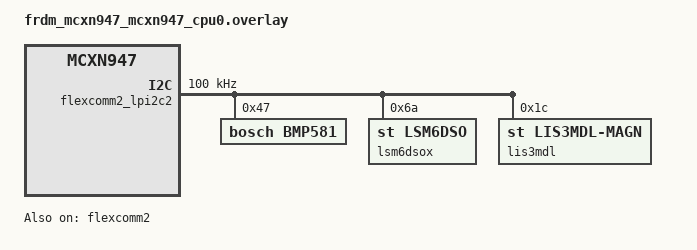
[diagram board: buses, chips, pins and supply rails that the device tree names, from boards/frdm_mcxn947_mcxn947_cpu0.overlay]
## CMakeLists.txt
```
cmake_minimum_required(VERSION 3.20.0)

set(SHIELD lcd_par_s035_8080)
find_package(Zephyr REQUIRED HINTS $ENV{ZEPHYR_BASE})
project(mxcn947-lab)

target_compile_definitions(app PRIVATE
    LV_LVGL_H_INCLUDE_SIMPLE=1
    UI_SUBJECT_STRING_LENGTH=64)

set(DISPLAY ${CMAKE_CURRENT_SOURCE_DIR}/src/display)
file(GLOB_RECURSE DISPLAY_GEN
    ${DISPLAY}/display_gen.c
    ${DISPLAY}/components/*.c
    ${DISPLAY}/screens/*_gen.c
    ${DISPLAY}/widgets/*.c
    ${DISPLAY}/fonts/*.c)

set(SOURCES
    src/main.c
    src/common.c
    src/led/led.c
    src/sensors/baro/bmp581.c
    src/sensors/imu/lsm6dsox.c
    src/sensors/mag/lis3mdl_m.c
    src/sensors/mag/compass.c
    src/sensors/mag/mag_calibration.c
    src/display/lvgl_main.c
    src/display/nav.c
    src/display/screens/motion.c
    ${DISPLAY_GEN}
)

target_sources(app PRIVATE ${SOURCES})
target_include_directories(app PRIVATE
    ${DISPLAY}
    ${DISPLAY}/components
    ${DISPLAY}/screens
    ${DISPLAY}/widgets)
```

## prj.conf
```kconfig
# Zephyr Kernel Config for FRDM-MCXN947
# zephyr/boards/nxp/frdm_mcxn947/frdm_mcxn947_mcxn947_cpu0.dtsi
CONFIG_MAIN_STACK_SIZE=16384

CONFIG_HW_STACK_PROTECTION=y
CONFIG_THREAD_STACK_INFO=y
CONFIG_EXTRA_EXCEPTION_INFO=y
CONFIG_EXCEPTION_STACK_TRACE=y
CONFIG_ARM_MPU=y

CONFIG_ASSERT=y

CONFIG_FPU=y

CONFIG_FLASH=y
CONFIG_FLASH_MAP=y
CONFIG_NVS=y
CONFIG_SETTINGS=y
CONFIG_SETTINGS_NVS=y

CONFIG_LOG=y
CONFIG_LOG_MODE_DEFERRED=y
CONFIG_LOG_BUFFER_SIZE=1024

CONFIG_PRINTK=y
CONFIG_LOG_PRINTK=y
CONFIG_SHELL=y
CONFIG_SHELL_BACKEND_SERIAL=y
CONFIG_I2C_SHELL=y
CONFIG_SENSOR_SHELL=y
CONFIG_DEVICE_SHELL=y
CONFIG_CBPRINTF_FP_SUPPORT=y

CONFIG_GPIO=y
CONFIG_I2C=y
CONFIG_SENSOR=y
CONFIG_BMP581=y
CONFIG_LSM6DSO=y
CONFIG_LIS3MDL=y

CONFIG_SPI=y
CONFIG_DMA=y

CONFIG_DISPLAY=y
CONFIG_INPUT=y
CONFIG_MIPI_DBI=y

CONFIG_LVGL=y
CONFIG_LV_USE_OBJ_NAME=y
CONFIG_LV_USE_THEME_MONO=y
CONFIG_LV_USE_FLOAT=y
CONFIG_LV_USE_THEME_DEFAULT=y
CONFIG_LV_Z_VDB_SIZE=50
CONFIG_LV_Z_MEM_POOL_SIZE=65536
CONFIG_LV_Z_DOUBLE_VDB=n
CONFIG_LV_USE_OBSERVER=y
CONFIG_LV_FONT_MONTSERRAT_14=y
CONFIG_LV_COLOR_DEPTH_16=y
CONFIG_LV_Z_AREA_X_ALIGNMENT_WIDTH=16
```

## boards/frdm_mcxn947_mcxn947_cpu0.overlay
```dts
#include <zephyr/dt-bindings/display/panel.h>
#include <zephyr/dt-bindings/mipi_dbi/mipi_dbi.h>
#include <zephyr/dt-bindings/sensor/lsm6dso.h>

&flexcomm2 {
    status = "okay";
};

&flexcomm2_lpi2c2 {
    clock-frequency = <I2C_BITRATE_STANDARD>;   /* 400 kHz; */

    bmp581: bmp581@47 {
        compatible = "bosch,bmp581";
        reg = <0x47>;
        status = "okay";
    };

    lsm6dsox: lsm6dsox@6a {
        compatible = "st,lsm6dso";
        reg = <0x6a>;
        /* optional tuning — defaults are fine to start */
        accel-range = <LSM6DSO_DT_FS_4G>;
        accel-odr   = <LSM6DSO_DT_ODR_104Hz>;
        gyro-range  = <LSM6DSO_DT_FS_500DPS>;
        gyro-odr    = <LSM6DSO_DT_ODR_104Hz>;
    };

    lis3mdl: lis3mdl@1c {
        compatible = "st,lis3mdl-magn";
        reg = <0x1c>;
    };
};

&st7796s {
    width = <320>;
    height = <480>;
    madctl = <0x48>;
};

/* portrait touch: remove landscape axis swap + inversions */
&gt911_lcd_par_s035 {
    /delete-property/ swapped-x-y;
    /delete-property/ inverted-x;
    /delete-property/ screen-width;
    /delete-property/ screen-height;
};

/ {
	aliases {
		baro-bmp581 = &bmp581;
        imu-lsm6dsox = &lsm6dsox;
        mag-lis3mdl = &lis3mdl;
	};
};
```

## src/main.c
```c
#include <zephyr/drivers/gpio.h>
#include <zephyr/kernel.h>
#include <zephyr/logging/log.h>
#include <zephyr/sys/util.h>

#include "display/lvgl_main.h"
#include "led/led.h"
#include "sensors/baro/bmp581.h"
#include "sensors/imu/lsm6dsox.h"
#include "sensors/mag/lis3mdl_m.h"

LOG_MODULE_REGISTER(mxcn947_lab, LOG_LEVEL_INF);

// static const struct gpio_dt_spec button    = GPIO_DT_SPEC_GET(DT_ALIAS(sw0),
// gpios);
//
// /*
//  * GPIO interrupt callback — fires on button press.
//  * This is the Zephyr equivalent of an ISR for EXTI on STM32.
//  */
// static struct gpio_callback button_cb_data;
//
// static void button_pressed(const struct device *dev,
//                            struct gpio_callback *cb,
//                            uint32_t pins)
// {
//     /* Toggle blue LED on each press */
//     gpio_pin_toggle_dt(&blue_led);
//     LOG_INF("button pressed — blue LED toggled");
// }

// static int init_button(void)
// {
//     int ret;
//
//     if (!device_is_ready(button.port)) {
//         LOG_ERR("Button GPIO port not ready");
//         return -ENODEV;
//     }
//
//     ret = gpio_pin_configure_dt(&button, GPIO_INPUT);
//     if (ret < 0) {
//         return ret;
//     }
//
//     /*
//      * Set up edge-triggered interrupt on the button pin.
//      * GPIO_INT_EDGE_TO_ACTIVE respects the ACTIVE_LOW flag
//      * from devicetree — so this fires on the physical press,
//      * not on a specific voltage edge. Nice abstraction.
//      */
//     ret = gpio_pin_interrupt_configure_dt(&button, GPIO_INT_EDGE_TO_ACTIVE);
//     if (ret < 0) {
//         return ret;
//     }
//
//     gpio_init_callback(&button_cb_data, button_pressed, BIT(button.pin));
//     gpio_add_callback(button.port, &button_cb_data);
//
//     return 0;
// }

int main(void) {
  LOG_INF("starting zephyr lab on %s", CONFIG_BOARD_TARGET);
  LOG_INF("build %s %s", __DATE__, __TIME__);

  if (bmp581_init() != 0) {
    LOG_ERR("bmp581 init failed");
    return 0;
  }

  if (lis3mdl_m_init() != 0) {
    LOG_ERR("lis3mdl init failed");
    return 0;
  }

  if (lsm6dsox_init() != 0) {
    LOG_ERR("lsm6dsox init failed");
    return 0;
  }

  if (led_init() != 0) {
    LOG_ERR("led manager init failed");
    return 0;
  }

  if (lvgl_display_init() != 0) {
    printk("LVGL UI init failed\n");
    return 0;
  }

  // if (init_leds() < 0 || init_button() < 0) {
  //     LOG_ERR("init failed");
  //     return 0;
  // }

  while (1) {
    lv_timer_handler();
    // display_tick(); /* process LVGL redraws */
    k_msleep(10);
  }

  return 0;
}
```

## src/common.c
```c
#include "common.h"

float celcius_to_farhenheit(struct sensor_value value)
{
    float fahrenheit = 0.0f;

    // val1 + val2 * 10^(-6)
    float temp_celcius = value.val1 + value.val2 * 1e-6f;

    fahrenheit = (temp_celcius * 1.8f) + 32;

    return fahrenheit;
}
```

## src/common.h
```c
#ifndef COMMON_H
#define COMMON_H

#include <zephyr/drivers/sensor.h>

#endif
```
